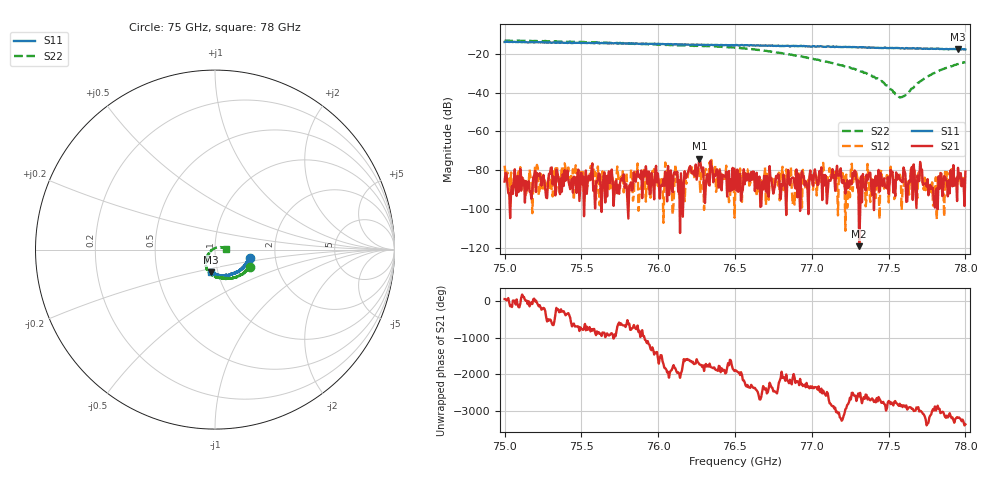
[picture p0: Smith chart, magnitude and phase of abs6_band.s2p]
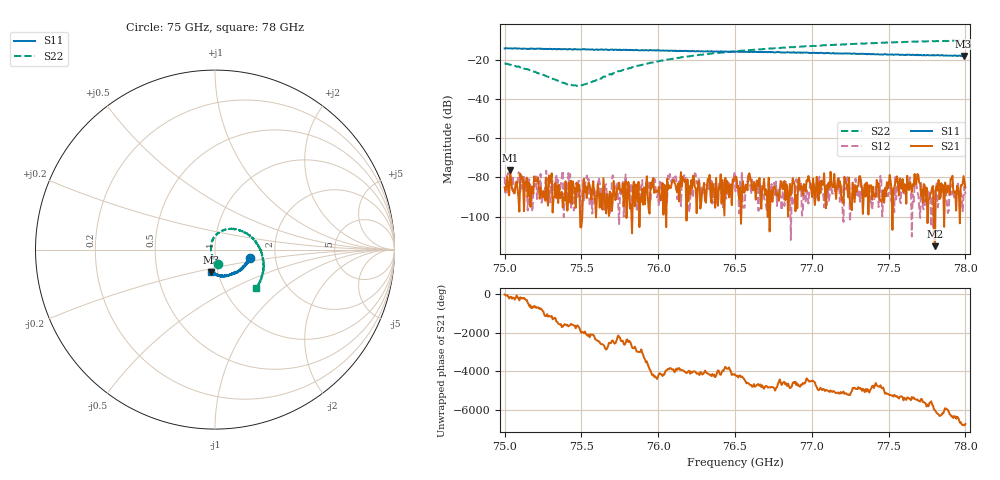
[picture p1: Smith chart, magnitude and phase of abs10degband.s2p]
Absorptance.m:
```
% ------------------------------------------------------------
% S11 Absorption Analysis for Multiple Incidence Angles
% Author: Jorge Cardenas
% Description: Loads S-parameter data, calculates absorption
%              for 0°, 10°, and 20° incidence, and exports CSV.
% ------------------------------------------------------------

% ---------- Input Files ----------

files = struct(...
    'angle0', struct('absorber', 'abs6_band.s2p', 'reflect', 'Reflection0Deg.s2p'), ...
    'angle10', struct('absorber', 'abs10degband.s2p', 'reflect', 'Reflectioncontrol10deg.s2p'), ...
    'angle20', struct('absorber', 'abs20degband.s2p', 'reflect', 'Reflectioncontrol20deg.s2p'), ...
    'angle30', struct('absorber', 'abs30degband.s2p', 'reflect', 'Reflectioncontrol20deg.s2p') ...
        );

% ---------- Load and Process ----------
[abs0, freq]  = processAngle(files.angle0.absorber, files.angle0.reflect, 0);
abs10         = processAngle(files.angle10.absorber, files.angle10.reflect, 10);
abs20         = processAngle(files.angle20.absorber, files.angle20.reflect, 20);
abs30         = processAngle(files.angle30.absorber, files.angle30.reflect, 20);

% ---------- Export to CSV ----------
T = table(freq, abs0, abs10, abs20, abs30, ...
    'VariableNames', {'Frequency_GHz', 'Abs0deg', 'Abs10deg', 'Abs20deg','Abs30deg'});

writetable(T, 'absorption_all_angles.csv');
disp('CSV saved: absorption_all_angles.csv');

% ============================================================
% Function: Process and Plot for One Angle
% ============================================================
function [P_absorbed_normalized, freq_GHz] = processAngle(absorber_file, reflect_file, angle_deg)

    % Load S-parameters
    data_absorber = sparameters(absorber_file);
    data_reflect = sparameters(reflect_file);
    freq_GHz = data_absorber.Frequencies / 1e9;
    
    % Extract S11
    s11_absorber = rfparam(data_absorber, 2, 2);
    s11_reflect = rfparam(data_reflect, 2, 2);

    plotS11Comparison(freq_GHz, data_absorber, data_reflect, s11_absorber, s11_reflect, angle_deg);

    % Calculate Absorption (custom domain-specific formula)
    ref = 2e3;
    P_in = 1;  % normalized
    P_reflected = (abs(s11_absorber) + abs(s11_reflect)).^2 ./ abs(s11_absorber).^2;
    P_absorbed_normalized =   (P_reflected / ref);

    % Plot
    figure('Name', sprintf('Absorption @ %d°', angle_deg));
    plot(freq_GHz, P_absorbed_normalized, 'b-', 'LineWidth', 2);
    xlabel('Frequency (GHz)', 'FontWeight', 'bold');
    ylabel('Absorption (Normalized)', 'FontWeight', 'bold');
    title(sprintf('Normalized Absorption vs Frequency @ %d°', angle_deg), 'FontWeight', 'bold');
    xlim([min(freq_GHz) max(freq_GHz)]);
    ylim([0 1]);
    grid on;
    set(gca, 'FontSize', 12);
end


% ============================================================
% Function: Plot S11 Comparison
% ============================================================
function plotS11Comparison(freq, data_dut, data_ref, s11_dut, s11_ref, angle_deg)
    diff_mag_db = mag2db(abs(s11_dut)) - mag2db(abs(s11_ref));

    figure('Name', sprintf('S11 Comparison @ %d°', angle_deg));
    subplot(2,1,1)
    rfplot(data_dut, 2, 2); hold on;
    rfplot(data_ref, 2, 2);
    xlabel('Frequency (GHz)');
    ylabel('|S_{11}| (dB)');
    title(sprintf('S11 Comparison @ %d°', angle_deg));
    legend('DUT', 'Reference');
    grid on;

    subplot(2,1,2)
    plot(freq, diff_mag_db, 'k', 'LineWidth', 2);
    xlabel('Frequency (GHz)');
    ylabel('Difference |S_{11}| (dB)');
    title('Difference in Reflection Magnitude');
    grid on;
    set(gca, 'FontSize', 12);
end
```
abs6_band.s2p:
# Hz S MA R 50
! CMT, C4420, 21421029, 25.1.2/3
! Date: 8/7/2025 5:32:10 PM
! Data: Format (Calibration Info)
! Freq	S33:Mag/Ang(F2)	S43:Mag/Ang(F2)	S34:Mag/Ang(F2)	S44:Mag/Ang(F2)
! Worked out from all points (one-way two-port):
!   500 points, 75 GHz to 78 GHz, reference 50 ohm
!   highest |S21| = -73.90 dB at 76.269 GHz (marker M1); lowest = -118.9 dB at 77.309 GHz (marker M2)
!   lowest |S11| = -17.9 dB at 77.952 GHz (marker M3), VSWR 1.29, Z = 46.5 - j11.9 ohm
!   |S11| at or under -10 dB: start of sweep to end of sweep
!   |S22| runs from -42.5 to -13.3 dB; largest |S21 - S12| = 0.0002
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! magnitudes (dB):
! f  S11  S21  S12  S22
! 75 GHz  -14.0  -85.7  -77.5  -13.3
! 76.226 GHz  -15.4  -81.5  -81.6  -15.9
! 76.269 GHz  -15.5  -73.9  -82.9  -16.1
! 76.311 GHz  -15.5  -87.0  -79.2  -16.1
! 76.503 GHz  -15.7  -85.0  -86.8  -17.0
! 77.309 GHz  -16.8  -118.9  -96.5  -28.9
! 77.441 GHz  -17.1  -90.9  -105.0  -33.5
! 77.579 GHz  -17.3  -85.2  -84.3  -42.4
! 77.747 GHz  -17.5  -88.2  -85.9  -32.1
! 77.952 GHz  -17.9  -78.6  -85.4  -25.4
! 78 GHz  -17.9  -80.7  -82.7  -24.4
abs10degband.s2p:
# Hz S MA R 50
! CMT, C4420, 21421029, 25.1.2/3
! Date: 8/7/2025 5:55:13 PM
! Data: Format (Calibration Info)
! Freq	S33:Mag/Ang(F2)	S43:Mag/Ang(F2)	S34:Mag/Ang(F2)	S44:Mag/Ang(F2)
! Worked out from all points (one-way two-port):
!   500 points, 75 GHz to 78 GHz, reference 50 ohm
!   highest |S21| = -76.27 dB at 75.036 GHz (marker M1); lowest = -115.2 dB at 77.802 GHz (marker M2)
!   lowest |S11| = -17.9 dB at 77.988 GHz (marker M3), VSWR 1.29, Z = 46.5 - j11.8 ohm
!   |S11| at or under -10 dB: start of sweep to end of sweep
!   |S22| runs from -33.2 to -10.0 dB; largest |S21 - S12| = 0.00018
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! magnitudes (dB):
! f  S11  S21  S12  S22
! 75 GHz  -14.0  -85.1  -79.9  -21.7
! 75.036 GHz  -14.0  -76.3  -79.3  -22.5
! 75.397 GHz  -14.4  -82.0  -83.5  -32.0
! 75.481 GHz  -14.5  -83.5  -81.8  -33.0
! 75.938 GHz  -15.1  -96.4  -82.5  -21.6
! 76.503 GHz  -15.7  -79.5  -87.1  -15.5
! 77.651 GHz  -17.4  -87.5  -110.3  -10.6
! 77.681 GHz  -17.4  -82.4  -83.7  -10.6
! 77.802 GHz  -17.6  -115.2  -94.9  -10.4
! 77.988 GHz  -17.9  -79.3  -89.5  -10.0
! 78 GHz  -17.9  -85.1  -88.6  -10.0
